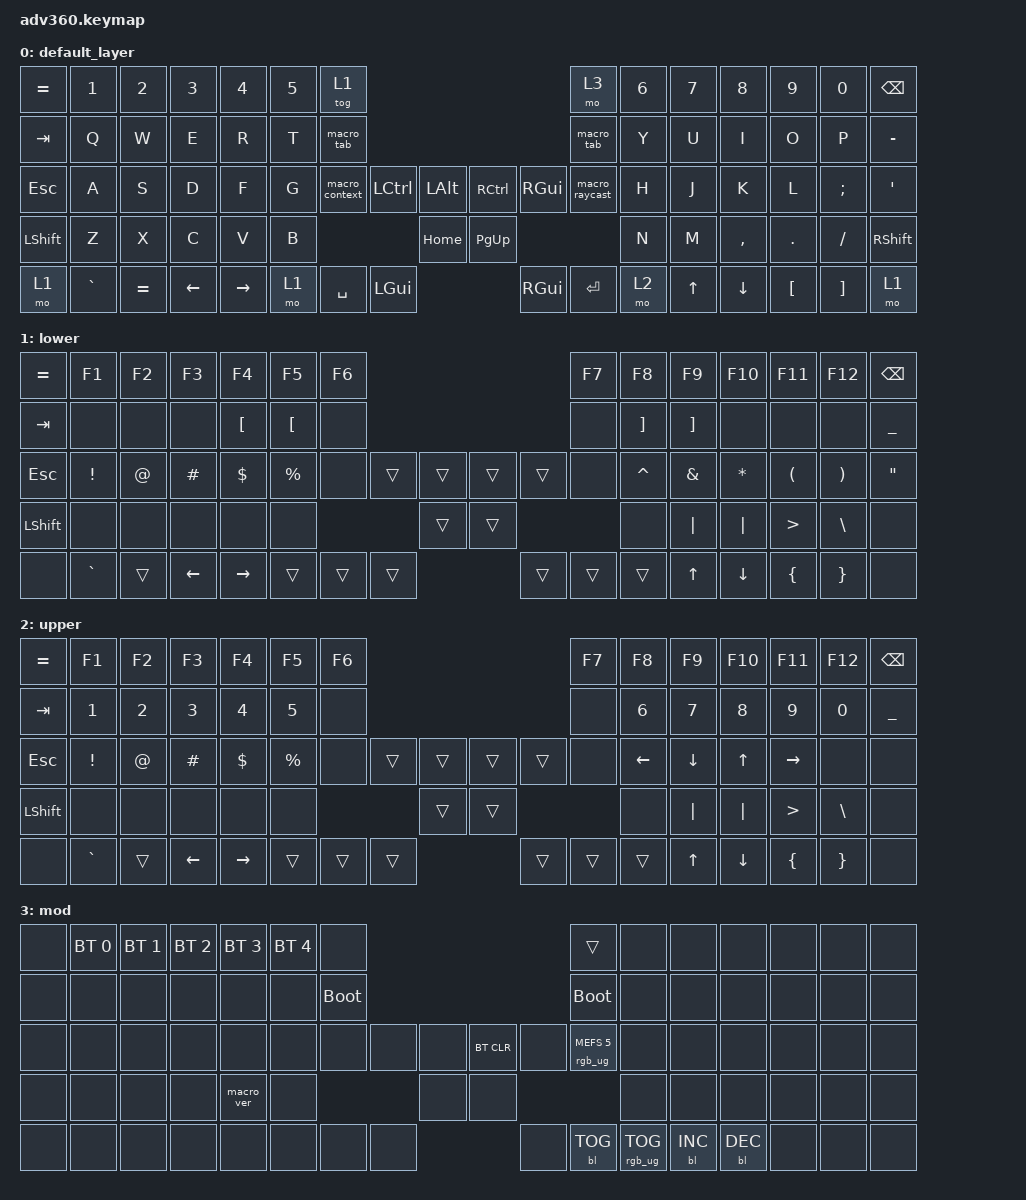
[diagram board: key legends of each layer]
#include <behaviors.dtsi>
#include <dt-bindings/zmk/keys.h>
#include <dt-bindings/zmk/bt.h>
#include <dt-bindings/zmk/rgb.h>
#include <dt-bindings/zmk/backlight.h>

/ {
    behaviors {
      #include "macros.dtsi"
      #include "version.dtsi"
      #ifndef VERSION_MACRO
      macro_ver: macro_ver {
        compatible = "zmk,behavior-macro";
        label = "macro_version";
        #binding-cells = <0>;
        bindings = <&kp RET>;
      };
      #endif

      hm: homerow_mods {
          compatible = "zmk,behavior-hold-tap";
          label = "HOMEROW_MODS";
          #binding-cells = <2>;
          tapping-term-ms = <200>;
          quick_tap_ms = <175>;
          flavor = "tap-preferred";
          bindings = <&kp>, <&kp>;
      };
    };

  keymap {
    compatible = "zmk,keymap";

    default_layer {
      bindings = <
        &kp EQUAL &kp N1    &kp N2   &kp N3   &kp N4     &kp N5 &tog 1                                                           &mo 3 &kp N6 &kp N7 &kp N8    &kp N9   &kp N0   &kp BSPC
        &kp TAB   &kp Q     &kp W    &kp E    &kp R      &kp T  &macro_tab                                                            &macro_tab &kp Y  &kp U  &kp I     &kp O    &kp P    &kp MINUS
        &kp ESC   &kp A     &kp S    &kp D    &kp F      &kp G  &macro_context           &kp LCTRL &kp LALT &kp RCTRL  &kp RGUI           &macro_raycast &kp H  &kp J  &kp K     &kp L    &kp SEMI &kp SQT
        &kp LSHFT &kp Z     &kp X    &kp C    &kp V      &kp B                            &kp HOME &kp PG_UP                            &kp N  &kp M  &kp COMMA &kp DOT  &kp FSLH &kp RSHFT
        &mo 1     &kp GRAVE &kp EQUAL &kp LEFT &kp RIGHT                &mo 1 &kp SPACE &kp LGUI &kp RGUI &kp ENTER &mo 2                &kp UP &kp DOWN  &kp LBKT &kp RBKT &mo 1
      >;
    };
    lower {
      bindings = <
        &kp EQUAL &kp F1    &kp F2   &kp F3   &kp F4     &kp F5 &kp F6                                                           &kp F7 &kp F8 &kp F9 &kp F10 &kp F11 &kp F12 &kp BSPC
        &kp TAB   &none     &none    &none    &kp LBKT      &kp LBKT  &none                                                            &none &kp RBKT  &kp RBKT  &none    &none   &none    &kp UNDER
        &kp ESC   &kp EXCL   &kp AT    &kp HASH    &kp DLLR  &kp PRCNT  &none           &trans &trans &trans  &trans           &none &kp CARET  &kp AMPS &kp STAR   &kp LPAR  &kp RPAR  &kp DQT
        &kp LSHFT &none     &none    &none    &none      &none                            &trans &trans                           &none  &kp PIPE  &kp PIPE    &kp GT   &kp BSLH    &none
        &none     &kp GRAVE &trans &kp LEFT &kp RIGHT                         &trans &trans  &trans &trans &trans &trans              &kp UP     &kp DOWN     &kp LBRC  &kp RBRC        &none
      >;
    };
    upper {
      bindings = <
        &kp EQUAL &kp F1    &kp F2   &kp F3   &kp F4     &kp F5 &kp F6                                                           &kp F7 &kp F8 &kp F9 &kp F10 &kp F11 &kp F12 &kp BSPC
        &kp TAB   &kp N1    &kp N2   &kp N3    &kp N4    &kp N5  &none                                                            &none &kp N6  &kp N7  &kp N8    &kp N9   &kp N0    &kp UNDER
        &kp ESC   &kp EXCL   &kp AT    &kp HASH    &kp DLLR  &kp PRCNT  &none           &trans &trans &trans  &trans           &none &kp LEFT  &kp DOWN &kp UP   &kp RIGHT  &none  &none
        &kp LSHFT &none     &none    &none    &none      &none                            &trans &trans                           &none  &kp PIPE  &kp PIPE    &kp GT   &kp BSLH    &none
        &none     &kp GRAVE &trans &kp LEFT &kp RIGHT                         &trans &trans  &trans &trans &trans &trans              &kp UP     &kp DOWN     &kp LBRC  &kp RBRC        &none
      >;
    };
    mod {
      bindings = <
        &none &bt BT_SEL 0 &bt BT_SEL 1 &bt BT_SEL 2 &bt BT_SEL 3 &bt BT_SEL 4 &none                                                                     &trans                 &none        &none        &none        &none &none &none
        &none &none        &none        &none        &none        &none        &bootloader                                                               &bootloader            &none        &none        &none        &none &none &none
        &none &none        &none        &none        &none        &none        &none                   &none &none &bt BT_CLR &none                      &rgb_ug RGB_MEFS_CMD 5 &none        &none        &none        &none &none &none
        &none &none        &none        &none        &macro_ver   &none                                      &none &none                                                        &none        &none        &none        &none &none &none
        &none &none        &none        &none        &none                                       &none &none &none &none      &bl BL_TOG &rgb_ug RGB_TOG                                     &bl BL_INC   &bl BL_DEC   &none &none &none
      >;
    };
  };
};
